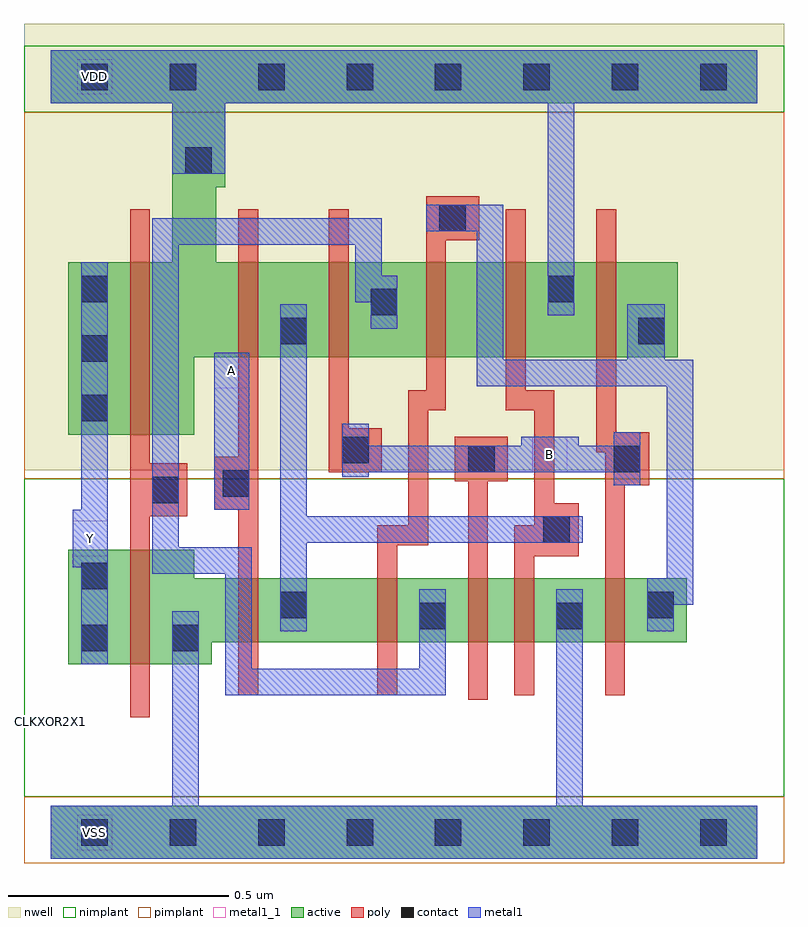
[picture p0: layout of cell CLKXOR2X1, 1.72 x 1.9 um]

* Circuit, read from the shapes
.subckt CLKXOR2X1 A B VDD VSS Y
M1 VSS n1 Y VSS nfet w=0.26u l=0.045u
M2 n2 A VSS VSS nfet w=0.145u l=0.045u
M3 n1 n3 n2 VSS nfet w=0.145u l=0.045u
M4 n4 B n1 VSS nfet w=0.145u l=0.045u
M5 VSS n2 n4 VSS nfet w=0.145u l=0.045u
M6 n3 B VSS VSS nfet w=0.145u l=0.045u
M7 VDD n1 Y VDD pfet w=0.39u l=0.045u
M8 n2 A VDD VDD pfet w=0.215u l=0.045u
M9 n1 B n2 VDD pfet w=0.215u l=0.045u
M10 n5 n3 n1 VDD pfet w=0.215u l=0.045u
M11 VDD n2 n5 VDD pfet w=0.215u l=0.045u
M12 n3 B VDD VDD pfet w=0.215u l=0.045u
.ends

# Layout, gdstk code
import gdstk
lib = gdstk.Library(unit=1e-6, precision=5e-10)
def R(c, l, rs):  # rectangles x0, y0, x1, y1
    for r in rs: c.add(gdstk.rectangle(r[:2], r[2:], *l))
def A(c, l, x, y, w, h, nx, ny, dx, dy):  # array of equal rectangles
    R(c, l, [(x+i*dx, y+j*dy, x+i*dx+w, y+j*dy+h) for i in range(nx) for j in range(ny)])
def P(c, l, *ps):  # polygons
    for p in ps: c.add(gdstk.Polygon(p, *l))
active = (1, 0)
nwell = (2, 0)
poly = (3, 0)
nimplant = (4, 0)
pimplant = (5, 0)
contact = (6, 0)
metal1 = (7, 0)
metal1_1 = (7, 1)

clkxor2x1 = lib.new_cell('CLKXOR2X1')
R(clkxor2x1, active, [(0,-0.06,1.6,0.06)])
P(clkxor2x1, active, [(1.6,1.77),(0,1.77),(0,1.65),(0.275,1.65),(0.275,1.29),(0.04,1.29),(0.04,0.9),(0.325,0.9),(0.325,1.075),(1.42,1.075),(1.42,1.29),(0.375,1.29),(0.375,1.46),(0.395,1.46),(0.395,1.65),(1.6,1.65)],
  [(1.44,0.575),(0.325,0.575),(0.325,0.64),(0.04,0.64),(0.04,0.38),(0.365,0.38),(0.365,0.43),(1.44,0.43)])
R(clkxor2x1, nwell, [(-0.06,0.82,1.66,1.83)])
P(clkxor2x1, poly, [(1.355,0.905),(1.28,0.905),(1.28,1.41),(1.235,1.41),(1.235,0.86),(1.255,0.86),(1.255,0.31),(1.3,0.31),(1.3,0.785),(1.355,0.785)],
  [(1.195,0.745),(1.14,0.745),(1.14,1),(1.075,1),(1.075,1.41),(1.03,1.41),(1.03,0.955),(1.095,0.955),(1.095,0.695),(1.05,0.695),(1.05,0.31),(1.095,0.31),(1.095,0.625),(1.195,0.625)],
  [(1.035,0.895),(0.915,0.895),(0.915,0.795),(0.945,0.795),(0.945,0.3),(0.99,0.3),(0.99,0.795),(1.035,0.795)],
  [(0.97,1.44),(0.85,1.44),(0.85,1),(0.81,1),(0.81,0.695),(0.74,0.695),(0.74,0.31),(0.785,0.31),(0.785,0.65),(0.855,0.65),(0.855,0.955),(0.895,0.955),(0.895,1.34),(0.97,1.34)],
  [(0.75,0.915),(0.675,0.915),(0.675,1.41),(0.63,1.41),(0.63,0.815),(0.75,0.815)],
  [(0.47,1.41),(0.425,1.41),(0.425,0.85),(0.37,0.85),(0.37,0.73),(0.425,0.73),(0.425,0.31),(0.47,0.31)],
  [(0.31,0.835),(0.225,0.835),(0.225,1.41),(0.18,1.41),(0.18,0.26),(0.225,0.26),(0.225,0.715),(0.31,0.715)])
R(clkxor2x1, nimplant, [(-0.06,0.08,1.66,0.8), (-0.06,1.63,1.66,1.78)])
R(clkxor2x1, pimplant, [(-0.06,-0.07,1.66,0.08), (-0.06,0.8,1.66,1.63)])
A(clkxor2x1, contact, 0.07, -0.03, 0.06, 0.06, 8, 2, 0.2, 1.71)
A(clkxor2x1, contact, 0.07, 0.93, 0.06, 0.06, 1, 3, 0, 0.135)
R(clkxor2x1, contact, [(0.07,0.41,0.13,0.47), (0.275,0.41,0.335,0.47), (0.835,0.46,0.895,0.52), (1.145,0.46,1.205,0.52), (0.52,0.485,0.58,0.545), (1.35,0.485,1.41,0.545), (0.07,0.55,0.13,0.61), (1.115,0.655,1.175,0.715), (0.23,0.745,0.29,0.805), (0.39,0.76,0.45,0.82), (0.945,0.815,1.005,0.875), (1.275,0.815,1.335,0.875), (0.66,0.835,0.72,0.895), (0.52,1.105,0.58,1.165), (1.33,1.105,1.39,1.165), (0.725,1.17,0.785,1.23), (1.125,1.2,1.185,1.26), (0.88,1.36,0.94,1.42), (0.305,1.49,0.365,1.55)])
R(clkxor2x1, metal1, [(0.37,0.73,0.45,1.085)])
P(clkxor2x1, metal1, [(1.6,1.77),(0,1.77),(0,1.65),(0.275,1.65),(0.275,1.49),(0.395,1.49),(0.395,1.65),(1.125,1.65),(1.125,1.17),(1.185,1.17),(1.185,1.65),(1.6,1.65)],
  [(1.455,1.07),(1.39,1.07),(1.39,1.195),(1.305,1.195),(1.305,1.07),(1.025,1.07),(1.025,1.42),(0.85,1.42),(0.85,1.36),(0.965,1.36),(0.965,1.01),(1.395,1.01),(1.395,0.575),(1.35,0.575),(1.35,0.455),(1.41,0.455),(1.41,0.515),(1.455,0.515)],
  [(1.335,0.905),(1.275,0.905),(1.275,0.875),(1.195,0.875),(1.195,0.895),(1.065,0.895),(1.065,0.875),(0.72,0.875),(0.72,0.925),(0.66,0.925),(0.66,0.805),(0.72,0.805),(0.72,0.815),(1.275,0.815),(1.275,0.785),(1.335,0.785)],
  [(1.205,0.715),(0.58,0.715),(0.58,1.195),(0.52,1.195),(0.52,0.455),(0.58,0.455),(0.58,0.655),(1.205,0.655)],
  [(0.895,0.55),(0.835,0.55),(0.835,0.37),(0.455,0.37),(0.455,0.645),(0.29,0.645),(0.29,1.33),(0.69,1.33),(0.69,1.2),(0.725,1.2),(0.725,1.14),(0.785,1.14),(0.785,1.26),(0.75,1.26),(0.75,1.39),(0.23,1.39),(0.23,0.585),(0.395,0.585),(0.395,0.31),(0.895,0.31)],
  [(0.13,1.29),(0.07,1.29),(0.07,0.73),(0.05,0.73),(0.05,0.6),(0.07,0.6),(0.07,0.38),(0.13,0.38)],
  [(1.6,0.06),(1.205,0.06),(1.205,0.55),(1.145,0.55),(1.145,0.06),(0.335,0.06),(0.335,0.5),(0.275,0.5),(0.275,0.06),(0,0.06),(0,-0.06),(1.6,-0.06)])
R(clkxor2x1, metal1_1, [(0.06,-0.04,0.14,0.04), (0.05,0.625,0.13,0.705), (1.09,0.815,1.17,0.895), (0.37,1.005,0.45,1.085), (0.06,1.67,0.14,1.75)])
clkxor2x1.add(gdstk.Label('VSS', (0.1,0), layer=7, texttype=1))
clkxor2x1.add(gdstk.Label('Y', (0.09,0.665), layer=7, texttype=1))
clkxor2x1.add(gdstk.Label('B', (1.13,0.855), layer=7, texttype=1))
clkxor2x1.add(gdstk.Label('A', (0.41,1.045), layer=7, texttype=1))
clkxor2x1.add(gdstk.Label('VDD', (0.1,1.71), layer=7, texttype=1))
clkxor2x1.add(gdstk.Label('CLKXOR2X1', (0,0.25), layer=63, texttype=0))

lib.write_gds('CLKXOR2X1.gds')
